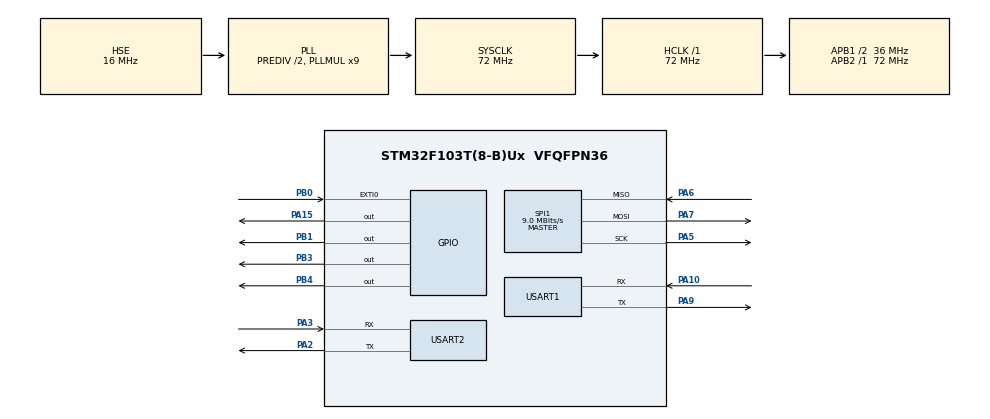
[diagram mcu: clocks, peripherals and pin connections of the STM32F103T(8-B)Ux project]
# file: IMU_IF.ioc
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Dma.Request0=SPI1_RX
Dma.Request1=SPI1_TX
Dma.SPI1_RX.0.Direction=DMA_PERIPH_TO_MEMORY
Dma.SPI1_RX.0.Instance=DMA1_Channel2
Dma.SPI1_RX.0.MemDataAlignment=DMA_MDATAALIGN_HALFWORD
Dma.SPI1_RX.0.MemInc=DMA_MINC_ENABLE
Dma.SPI1_RX.0.Mode=DMA_NORMAL
Dma.SPI1_RX.0.PeriphDataAlignment=DMA_PDATAALIGN_HALFWORD
Dma.SPI1_RX.0.PeriphInc=DMA_PINC_DISABLE
Dma.SPI1_RX.0.Priority=DMA_PRIORITY_LOW
Dma.SPI1_TX.1.Direction=DMA_MEMORY_TO_PERIPH
Dma.SPI1_TX.1.Instance=DMA1_Channel3
Dma.SPI1_TX.1.MemDataAlignment=DMA_MDATAALIGN_HALFWORD
Dma.SPI1_TX.1.MemInc=DMA_MINC_DISABLE
Dma.SPI1_TX.1.Mode=DMA_NORMAL
Dma.SPI1_TX.1.PeriphDataAlignment=DMA_PDATAALIGN_HALFWORD
Dma.SPI1_TX.1.PeriphInc=DMA_PINC_DISABLE
Dma.SPI1_TX.1.Priority=DMA_PRIORITY_LOW
FREERTOS.BinarySemaphores01=ImuDataReadySem,Dynamic,NULL,Depleted;ImuDmaDoneSem,Dynamic,NULL,Depleted
FREERTOS.Queues01=ImuDataQueue,8,uint16_t,0,Dynamic,NULL,NULL
FREERTOS.Tasks01=defaultTask,0,256,StartDefaultTask,Default,NULL,Dynamic,NULL,NULL;imuTask,1,384,StartImuTask,Default,NULL,Dynamic,NULL,NULL;uartTask,0,384,StartUartTask,Default,NULL,Dynamic,NULL,NULL
FREERTOS.configTOTAL_HEAP_SIZE=8192
Mcu.Family=STM32F1
Mcu.Name=STM32F103T(8-B)Ux
Mcu.Package=VFQFPN36
NVIC.DMA1_Channel2_IRQn=true\:5\:0\:false\:false\:true\:true\:false\:true\:true
NVIC.DMA1_Channel3_IRQn=true\:5\:0\:false\:false\:true\:true\:false\:true\:true
NVIC.EXTI0_IRQn=true\:5\:0\:false\:false\:true\:true\:true\:true\:true
NVIC.PriorityGroup=NVIC_PRIORITYGROUP_4
PA10.Mode=Asynchronous
PA10.Signal=USART1_RX
PA13.Mode=Serial_Wire
PA13.Signal=SYS_JTMS-SWDIO
PA14.Mode=Serial_Wire
PA14.Signal=SYS_JTCK-SWCLK
PA15.Signal=GPIO_Output
PA2.Mode=Asynchronous
PA2.Signal=USART2_TX
PA3.Mode=Asynchronous
PA3.Signal=USART2_RX
PA4.Signal=SPI1_NSS
PA5.Mode=Full_Duplex_Master
PA5.Signal=SPI1_SCK
PA6.Mode=Full_Duplex_Master
PA6.Signal=SPI1_MISO
PA7.Mode=Full_Duplex_Master
PA7.Signal=SPI1_MOSI
PA9.Mode=Asynchronous
PA9.Signal=USART1_TX
PB0.Signal=GPXTI0
PB1.PinState=GPIO_PIN_SET
PB1.Signal=GPIO_Output
PB3.Signal=GPIO_Output
PB4.Signal=GPIO_Output
PD0-OSC_IN.Mode=HSE-External-Oscillator
PD0-OSC_IN.Signal=RCC_OSC_IN
PD1-OSC_OUT.Mode=HSE-External-Oscillator
PD1-OSC_OUT.Signal=RCC_OSC_OUT
ProjectManager.HeapSize=0x200
ProjectManager.StackSize=0x400
ProjectManager.TargetToolchain=STM32CubeIDE
RCC.AHBFreq_Value=72000000
RCC.APB1CLKDivider=RCC_HCLK_DIV2
RCC.APB1Freq_Value=36000000
RCC.APB1TimFreq_Value=72000000
RCC.APB2Freq_Value=72000000
RCC.APB2TimFreq_Value=72000000
RCC.HCLKFreq_Value=72000000
RCC.HSEDivPLL=RCC_HSE_PREDIV_DIV2
RCC.HSE_VALUE=16000000
RCC.PLLMUL=RCC_PLL_MUL9
RCC.PLLSourceVirtual=RCC_PLLSOURCE_HSE
RCC.SYSCLKFreq_VALUE=72000000
RCC.SYSCLKSource=RCC_SYSCLKSOURCE_PLLCLK
RCC.USBFreq_Value=72000000
SPI1.BaudRatePrescaler=SPI_BAUDRATEPRESCALER_8
SPI1.CLKPhase=SPI_PHASE_2EDGE
SPI1.CLKPolarity=SPI_POLARITY_HIGH
SPI1.CalculateBaudRate=9.0 MBits/s
SPI1.DataSize=SPI_DATASIZE_16BIT
SPI1.Direction=SPI_DIRECTION_2LINES
SPI1.Mode=SPI_MODE_MASTER
SPI1.VirtualType=VM_MASTER
USART1.VirtualMode=VM_ASYNC
USART2.VirtualMode=VM_ASYNC
VP_FREERTOS_VS_CMSIS_V1.Mode=CMSIS_V1
board=custom

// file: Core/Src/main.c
/* USER CODE BEGIN Header */
/**
  ******************************************************************************
  * @file           : main.c
  * @brief          : Main program body
  ******************************************************************************
  * @attention
  *
  * Copyright (c) 2026 STMicroelectronics.
  * All rights reserved.
  *
  * This software is licensed under terms that can be found in the LICENSE file
  * in the root directory of this software component.
  * If no LICENSE file comes with this software, it is provided AS-IS.
  *
  ******************************************************************************
  */
/* USER CODE END Header */
#include "main.h"
#include "cmsis_os.h"

/* USER CODE BEGIN Includes */
#include "adis16488a.h"
/* USER CODE END Includes */

SPI_HandleTypeDef hspi1;
DMA_HandleTypeDef hdma_spi1_rx;
DMA_HandleTypeDef hdma_spi1_tx;

UART_HandleTypeDef huart1;
UART_HandleTypeDef huart2;

osThreadId defaultTaskHandle;
osThreadId imuTaskHandle;
osThreadId uartTaskHandle;
osMessageQId ImuDataQueueHandle;
osSemaphoreId ImuDataReadySemHandle;
osSemaphoreId ImuDmaDoneSemHandle;

void SystemClock_Config(void);
static void MX_GPIO_Init(void);
static void MX_DMA_Init(void);
static void MX_SPI1_Init(void);
static void MX_USART1_UART_Init(void);
static void MX_USART2_UART_Init(void);
void StartDefaultTask(void const * argument);
void StartImuTask(void const * argument);
void StartUartTask(void const * argument);

/* USER CODE BEGIN 0 */
void HAL_GPIO_EXTI_Callback(uint16_t GPIO_Pin) {
	if (GPIO_Pin == GPIO_PIN_0) {
		osSemaphoreRelease(ImuDataReadySemHandle);
	}
}

void HAL_SPI_TxRxCpltCallback(SPI_HandleTypeDef *hspi) {
	if (hspi->Instance == SPI1) {
		HAL_GPIO_WritePin(GPIOA, GPIO_PIN_4, GPIO_PIN_SET);
		osSemaphoreRelease(ImuDmaDoneSemHandle);
	}
}
/* USER CODE END 0 */

int main(void)
{

  /* MCU Configuration--------------------------------------------------------*/

  /* Reset of all peripherals, Initializes the Flash interface and the Systick. */
  HAL_Init();

  /* Configure the system clock */
  SystemClock_Config();

  /* Initialize all configured peripherals */
  MX_GPIO_Init();
  MX_DMA_Init();
  MX_SPI1_Init();
  MX_USART1_UART_Init();
  MX_USART2_UART_Init();

  /* Create the semaphores(s) */
  /* definition and creation of ImuDataReadySem */
  osSemaphoreDef(ImuDataReadySem);
  ImuDataReadySemHandle = osSemaphoreCreate(osSemaphore(ImuDataReadySem), 0); // Depleted //1);

  /* definition and creation of ImuDmaDoneSem */
  osSemaphoreDef(ImuDmaDoneSem);
  ImuDmaDoneSemHandle = osSemaphoreCreate(osSemaphore(ImuDmaDoneSem), 0); // Depleted //1);

  /* Create the queue(s) */
  /* definition and creation of ImuDataQueue */
  osMessageQDef(ImuDataQueue, 8, uint16_t);
  ImuDataQueueHandle = osMessageCreate(osMessageQ(ImuDataQueue), NULL);

  /* Create the thread(s) */
  /* definition and creation of defaultTask */
  osThreadDef(defaultTask, StartDefaultTask, osPriorityNormal, 0, 256);
  defaultTaskHandle = osThreadCreate(osThread(defaultTask), NULL);

  /* definition and creation of imuTask */
  osThreadDef(imuTask, StartImuTask, osPriorityAboveNormal, 0, 384);
  imuTaskHandle = osThreadCreate(osThread(imuTask), NULL);

  /* definition and creation of uartTask */
  osThreadDef(uartTask, StartUartTask, osPriorityNormal, 0, 384);
  uartTaskHandle = osThreadCreate(osThread(uartTask), NULL);

  /* Start scheduler */
  osKernelStart();

  /* We should never get here as control is now taken by the scheduler */

  /* Infinite loop */
  while (1)
  {

  }
}

void SystemClock_Config(void)
{
  RCC_OscInitTypeDef RCC_OscInitStruct = {0};
  RCC_ClkInitTypeDef RCC_ClkInitStruct = {0};

  /** Initializes the RCC Oscillators according to the specified parameters
  * in the RCC_OscInitTypeDef structure.
  */
  RCC_OscInitStruct.OscillatorType = RCC_OSCILLATORTYPE_HSE;
  RCC_OscInitStruct.HSEState = RCC_HSE_ON;
  RCC_OscInitStruct.HSEPredivValue = RCC_HSE_PREDIV_DIV2;
  RCC_OscInitStruct.HSIState = RCC_HSI_ON;
  RCC_OscInitStruct.PLL.PLLState = RCC_PLL_ON;
  RCC_OscInitStruct.PLL.PLLSource = RCC_PLLSOURCE_HSE;
  RCC_OscInitStruct.PLL.PLLMUL = RCC_PLL_MUL9;
  if (HAL_RCC_OscConfig(&RCC_OscInitStruct) != HAL_OK)
  {
    Error_Handler();
  }

  /** Initializes the CPU, AHB and APB buses clocks
  */
  RCC_ClkInitStruct.ClockType = RCC_CLOCKTYPE_HCLK|RCC_CLOCKTYPE_SYSCLK
                              |RCC_CLOCKTYPE_PCLK1|RCC_CLOCKTYPE_PCLK2;
  RCC_ClkInitStruct.SYSCLKSource = RCC_SYSCLKSOURCE_PLLCLK;
  RCC_ClkInitStruct.AHBCLKDivider = RCC_SYSCLK_DIV1;
  RCC_ClkInitStruct.APB1CLKDivider = RCC_HCLK_DIV2;
  RCC_ClkInitStruct.APB2CLKDivider = RCC_HCLK_DIV1;

  if (HAL_RCC_ClockConfig(&RCC_ClkInitStruct, FLASH_LATENCY_2) != HAL_OK)
  {
    Error_Handler();
  }
}

static void MX_SPI1_Init(void)
{

  /* SPI1 parameter configuration*/
  hspi1.Instance = SPI1;
  hspi1.Init.Mode = SPI_MODE_MASTER;
  hspi1.Init.Direction = SPI_DIRECTION_2LINES;
  hspi1.Init.DataSize = SPI_DATASIZE_16BIT;
  hspi1.Init.CLKPolarity = SPI_POLARITY_HIGH;
  hspi1.Init.CLKPhase = SPI_PHASE_2EDGE;
  hspi1.Init.NSS = SPI_NSS_SOFT;
  hspi1.Init.BaudRatePrescaler = SPI_BAUDRATEPRESCALER_8;
  hspi1.Init.FirstBit = SPI_FIRSTBIT_MSB;
  hspi1.Init.TIMode = SPI_TIMODE_DISABLE;
  hspi1.Init.CRCCalculation = SPI_CRCCALCULATION_DISABLE;
  hspi1.Init.CRCPolynomial = 10;
  if (HAL_SPI_Init(&hspi1) != HAL_OK)
  {
    Error_Handler();
  }

}

static void MX_USART1_UART_Init(void)
{

  huart1.Instance = USART1;
  huart1.Init.BaudRate = 115200;
  huart1.Init.WordLength = UART_WORDLENGTH_8B;
  huart1.Init.StopBits = UART_STOPBITS_1;
  huart1.Init.Parity = UART_PARITY_NONE;
  huart1.Init.Mode = UART_MODE_TX_RX;
  huart1.Init.HwFlowCtl = UART_HWCONTROL_NONE;
  huart1.Init.OverSampling = UART_OVERSAMPLING_16;
  if (HAL_UART_Init(&huart1) != HAL_OK)
  {
    Error_Handler();
  }

}

static void MX_USART2_UART_Init(void)
{

  huart2.Instance = USART2;
  huart2.Init.BaudRate = 115200;
  huart2.Init.WordLength = UART_WORDLENGTH_8B;
  huart2.Init.StopBits = UART_STOPBITS_1;
  huart2.Init.Parity = UART_PARITY_NONE;
  huart2.Init.Mode = UART_MODE_TX_RX;
  huart2.Init.HwFlowCtl = UART_HWCONTROL_NONE;
  huart2.Init.OverSampling = UART_OVERSAMPLING_16;
  if (HAL_UART_Init(&huart2) != HAL_OK)
  {
    Error_Handler();
  }

}

static void MX_DMA_Init(void)
{

  /* DMA controller clock enable */
  __HAL_RCC_DMA1_CLK_ENABLE();

  /* DMA interrupt init */
  /* DMA1_Channel2_IRQn interrupt configuration */
  HAL_NVIC_SetPriority(DMA1_Channel2_IRQn, 5, 0);
  HAL_NVIC_EnableIRQ(DMA1_Channel2_IRQn);
  /* DMA1_Channel3_IRQn interrupt configuration */
  HAL_NVIC_SetPriority(DMA1_Channel3_IRQn, 5, 0);
  HAL_NVIC_EnableIRQ(DMA1_Channel3_IRQn);

}

static void MX_GPIO_Init(void)
{
  GPIO_InitTypeDef GPIO_InitStruct = {0};

  /* GPIO Ports Clock Enable */
  __HAL_RCC_GPIOD_CLK_ENABLE();
  __HAL_RCC_GPIOA_CLK_ENABLE();
  __HAL_RCC_GPIOB_CLK_ENABLE();

  /*Configure GPIO pin Output Level */
  HAL_GPIO_WritePin(GPIOB, GPIO_PIN_1, GPIO_PIN_SET);

  /*Configure GPIO pin Output Level */
  HAL_GPIO_WritePin(GPIOA, GPIO_PIN_15, GPIO_PIN_RESET);

  /*Configure GPIO pin Output Level */
  HAL_GPIO_WritePin(GPIOB, GPIO_PIN_3|GPIO_PIN_4, GPIO_PIN_RESET);

  /*Configure GPIO pin : PB0 */
  GPIO_InitStruct.Pin = GPIO_PIN_0;
  GPIO_InitStruct.Mode = GPIO_MODE_IT_RISING;
  GPIO_InitStruct.Pull = GPIO_NOPULL;
  HAL_GPIO_Init(GPIOB, &GPIO_InitStruct);

  /*Configure GPIO pins : PB1 PB3 PB4 */
  GPIO_InitStruct.Pin = GPIO_PIN_1|GPIO_PIN_3|GPIO_PIN_4;
  GPIO_InitStruct.Mode = GPIO_MODE_OUTPUT_PP;
  GPIO_InitStruct.Pull = GPIO_NOPULL;
  GPIO_InitStruct.Speed = GPIO_SPEED_FREQ_LOW;
  HAL_GPIO_Init(GPIOB, &GPIO_InitStruct);

  /*Configure GPIO pin : PA15 */
  GPIO_InitStruct.Pin = GPIO_PIN_15;
  GPIO_InitStruct.Mode = GPIO_MODE_OUTPUT_PP;
  GPIO_InitStruct.Pull = GPIO_NOPULL;
  GPIO_InitStruct.Speed = GPIO_SPEED_FREQ_LOW;
  HAL_GPIO_Init(GPIOA, &GPIO_InitStruct);

  /* EXTI interrupt init*/
  HAL_NVIC_SetPriority(EXTI0_IRQn, 5, 0);
  HAL_NVIC_EnableIRQ(EXTI0_IRQn);

}

void StartDefaultTask(void const * argument)
{
  for(;;)
  {
    osDelay(1);
  }
}

void StartImuTask(void const * argument)
{
  /* USER CODE BEGIN StartImuTask */
  /* Infinite loop */
  for(;;)
  {
	  osSemaphoreWait(ImuDataReadySemHandle, osWaitForever);
	  adis16488a_burst_read();
	  osSemaphoreWait(ImuDmaDoneSemHandle, osWaitForever);

	  adis16488a_converted_t ImuData;
	  ImuData.gyro_x = (int16_t)buf_spi1_rx[1] * GYRO_SCALE;
	  ImuData.gyro_y = (int16_t)buf_spi1_rx[2] * GYRO_SCALE;
	  ImuData.gyro_z = (int16_t)buf_spi1_rx[3] * GYRO_SCALE;
	  ImuData.accl_x = (int16_t)buf_spi1_rx[4] * ACCL_SCALE;
	  ImuData.accl_y = (int16_t)buf_spi1_rx[5] * ACCL_SCALE;
	  ImuData.accl_z = (int16_t)buf_spi1_rx[6] * ACCL_SCALE;

	  osMessagePut(ImuDataQueueHandle, (uint32_t)&ImuData, osWaitForever);
  }
  /* USER CODE END StartImuTask */
}

void StartUartTask(void const * argument)
{
  /* USER CODE BEGIN StartUartTask */
  /* Infinite loop */
  for(;;)
  {
	  adis16488a_converted_t ImuData;

	  osEvent Event = osMessageGet(ImuDataQueueHandle, osWaitForever);

	  if (Event.status == osEventMessage) {
		  ImuData = *(adis16488a_converted_t*)Event.value.p;
		  HAL_UART_Transmit(&huart2, (uint8_t*)&ImuData, sizeof(ImuData), HAL_MAX_DELAY);
	  }
  }
  /* USER CODE END StartUartTask */
}

void Error_Handler(void)
{
  __disable_irq();
  while (1)
  {
  }
}
